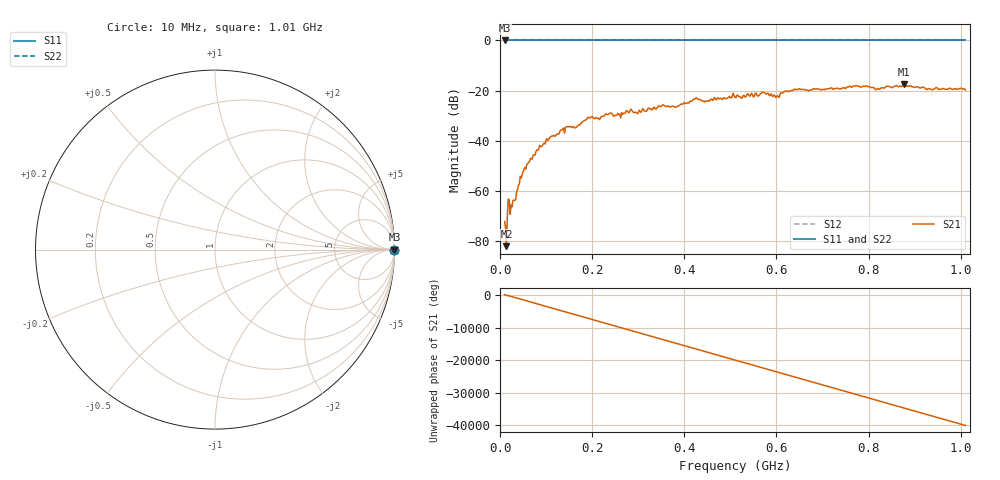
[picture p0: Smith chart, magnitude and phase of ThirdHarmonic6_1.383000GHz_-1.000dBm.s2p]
! 8/16/2025 3:43:46 PM
! C:\ANRITSUVNA\TEMP\TEMP.S2P
! CHANNEL.1
! TR.MEASUREMENT
! RAW.DATA
! RF.CORRECTION.OFF
! AVERAGING.OFF
! IF.BANDWIDTH: 5KHZ
! SWEEPTYPE:  FREQ.SWEEP(Linear)
! Reference Plane Port Info
! PORT:  PORT1  PORT2
! DISTANCE:  0  m  0  m
! TIME:  0  s  0  s
! PHASE.OFFSET:  0  deg.  0  deg.
! LOSS:  0  dB  0  dB
! REF.LOSS:  0  dB  0  dB
! REF.FREQ:  0  Hz  0  Hz
! Power Info
! POWER:  -20  dBm  -20  dBm
! EFF.POWER:  -20  dBm  -20  dBm
! SOURCE.ATTEN:  0  dB  0  dB
! TEST.ATTEN:  0  dB  0  dB
# GHZ S RI R 50.0
! FREQ.GHZ  S11RE  S11IM  S21RE  S21IM  S12RE  S12IM  S22RE  S22IM
!; PortSelection: Port_12
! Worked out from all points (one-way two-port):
!   501 points, 10 MHz to 1.01 GHz, reference 50 ohm
!   highest |S21| = -17.53 dB at 876 MHz (marker M1); lowest = -82.0 dB at 14 MHz (marker M2)
!   lowest |S11| = 0.0 dB at 10 MHz (marker M3)
!   |S11| at or under -10 dB: nowhere
!   |S22| runs from 0.0 to 0.0 dB; largest |S21 - S12| = 1.1
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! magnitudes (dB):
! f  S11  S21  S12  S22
! 10 MHz  0.0  -72.2  0.0  0.0
! 14 MHz  0.0  -82.0  0.0  0.0
! 20 MHz  0.0  -63.6  0.0  0.0
! 30 MHz  0.0  -63.6  0.0  0.0
! 48 MHz  0.0  -53.6  0.0  0.0
! 82 MHz  0.0  -43.7  0.0  0.0
! 134 MHz  0.0  -35.7  0.0  0.0
! 178 MHz  0.0  -32.6  0.0  0.0
! 196 MHz  0.0  -30.9  0.0  0.0
! 296 MHz  0.0  -28.8  0.0  0.0
! 344 MHz  0.0  -26.1  0.0  0.0
! 384 MHz  0.0  -26.3  0.0  0.0
! 424 MHz  0.0  -23.2  0.0  0.0
! 448 MHz  0.0  -24.2  0.0  0.0
! 510 MHz  0.0  -22.8  0.0  0.0
! 570 MHz  0.0  -20.6  0.0  0.0
! 602 MHz  0.0  -22.0  0.0  0.0
! 620 MHz  0.0  -20.1  0.0  0.0
! 678 MHz  0.0  -19.6  0.0  0.0
! 844 MHz  0.0  -18.4  0.0  0.0
! 876 MHz  0.0  -17.5  0.0  0.0
! 1.01 GHz  0.0  -19.8  0.0  0.0
